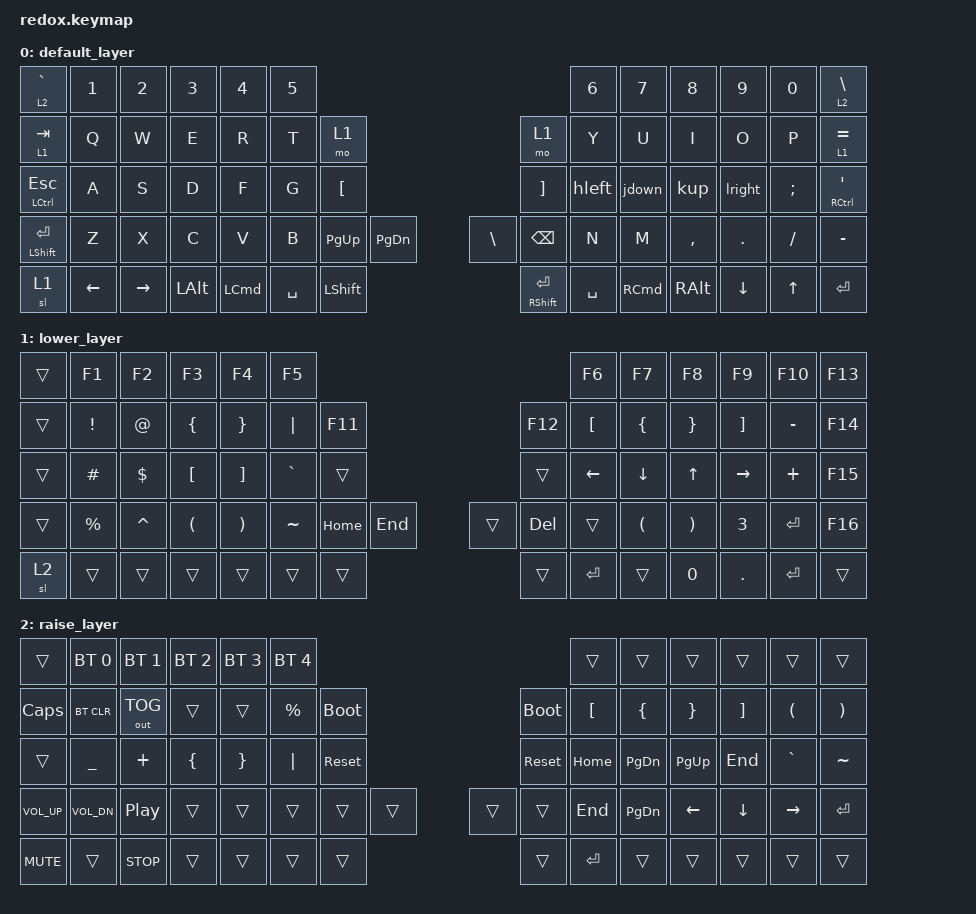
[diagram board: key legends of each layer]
/*
 * Copyright (c) 2021 The ZMK Contributors
 *
 * SPDX-License-Identifier: MIT
 */

#include <behaviors.dtsi>
#include <dt-bindings/zmk/keys.h>
#include <dt-bindings/zmk/bt.h>
#include <dt-bindings/zmk/ext_power.h>
#include <dt-bindings/zmk/outputs.h>

/ {

    behaviors {
        hleft: h_left {
            compatible = "zmk,behavior-mod-morph";
            #binding-cells = <0>;
            bindings = <&kp H>, <&kp LEFT>;
            mods = <(MOD_RCTL|MOD_LCTL)>;
        };
        jdown: j_down {
            compatible = "zmk,behavior-mod-morph";
            #binding-cells = <0>;
            bindings = <&kp J>, <&kp DOWN>;
            mods = <(MOD_RCTL|MOD_LCTL)>;
        };
        kup: k_up {
            compatible = "zmk,behavior-mod-morph";
            #binding-cells = <0>;
            bindings = <&kp K>, <&kp UP>;
            mods = <(MOD_RCTL|MOD_LCTL)>;
        };
        lright: l_right {
            compatible = "zmk,behavior-mod-morph";
            #binding-cells = <0>;
            bindings = <&kp L>, <&kp RIGHT>;
            mods = <(MOD_RCTL|MOD_LCTL)>;
        };
    };

    keymap {
        compatible =  "zmk,keymap" ;

        default_layer {
// --------------------------------------------------------------------------------------------------------------------------------
// | ESC   |  1  |  2  |   3   |  4  |  5  |                   ---                |  6    |  7    |  8    |  9   | 0  |    BSPC   |
// | TAB   |  Q  |  W  |   E   |  R  |  T  |   (   |           ---        |  )    |  Y    |  U    |  I    |  O   | P  |     -     |
// | CTRL  |  A  |  S  |   D   |  F  |  G  |   [   |           ---        |  ]    |  H    |  J    |  K    |  L   | ;  |     '     |
// | SHIFT |  Z  |  X  |   C   |  V  |  B  | PG_UP | PG_DOWN | --- | HOME | END   |  N    |  M    |  ,    |  .   | /  | SHFT(RET) |
// | CRTL  | ALT | GUI | LOWER |    GUI    | LOWER | SPACE   | --- | DEL  | SPACE |     RAISE     | LEFT  | DOWN | UP |   RIGHT   |
            bindings = <
   &lt 2 GRAVE   &kp N1   &kp N2    &kp N3   &kp N4    &kp N5                                                                     &kp N6    &kp N7   &kp N8    &kp N9   &kp N0     &lt 2 BSLH
   &lt 1 TAB     &kp Q    &kp W     &kp E    &kp R     &kp T     &mo 1                                           &mo 1            &kp Y     &kp U    &kp I     &kp O    &kp P      &lt 1 EQUAL
   &mt LCTRL ESC &kp A    &kp S     &kp D    &kp F     &kp G     &kp LBKT                                        &kp RBKT         &hleft    &jdown   &kup      &lright  &kp SEMI   &mt RCTL SINGLE_QUOTE
   &mt LSHFT RET &kp Z    &kp X     &kp C    &kp V     &kp B     &kp PG_UP &kp PG_DN            &kp BSLH         &kp BSPC         &kp N     &kp M    &kp COMMA &kp DOT  &kp FSLH   &kp MINUS
   &sl 1         &kp LEFT &kp RIGHT &kp LALT    &kp LCMD         &kp SPACE &kp LSHIFT           &mt RSHIFT RET   &kp SPACE           &kp RCMD        &kp RALT  &kp DOWN &kp UP     &kp RET
            >;

        };

        lower_layer {
// --------------------------------------------------------------------------------------------------------------------------
// | ESC   |  1  |  2  |   3   |   4   |  5  |                   ---              |  6  |  7  |   8  |  9   |  0  |  DEL  |
// | ESC   |  1  |  2  |   3   |   4   |  5  |   (   |           ---        |  )  |  6  |  7  |   8  |  9   |  0  |  DEL  |
// | CTRL  |  -  |  =  |   [   |   ]   |  \  |   [   |           ---        |  ]  |  *  |  4  |   5  |  6   |  +  |   -   |
// | SHIFT | ESC | GUI | COPY  | PASTE |     | PG_UP | PG_DOWN | --- | HOME | END |  \  |  1  |   2  |  3   | RET |  RET  |
// | CRTL  | ALT | GUI | LOWER |     GUI     | LOWER | SPACE   | --- | DEL  |  0  |    RAISE  | LEFT | DOWN | UP  | RIGHT |
            bindings = <
   &trans  &kp F1      &kp F2      &kp F3            &kp F4             &kp F5                                                   &kp F6        &kp F7            &kp F8             &kp F9    &kp F10      &kp F13
   &trans  &kp EXCL    &kp AT      &kp LEFT_BRACE    &kp RIGHT_BRACE    &kp PIPE    &kp F11                          &kp F12     &kp LBKT      &kp LEFT_BRACE    &kp RIGHT_BRACE    &kp RBKT  &kp MINUS    &kp F14
   &trans  &kp HASH    &kp DOLLAR  &kp LBKT          &kp RBKT           &kp GRAVE   &trans                           &trans      &kp LEFT      &kp DOWN          &kp UP             &kp RIGHT &kp PLUS     &kp F15
   &trans  &kp PRCNT   &kp CARET   &kp LPAR          &kp RPAR           &kp TILDE   &kp HOME &kp END          &trans &kp DELETE  &trans        &kp LPAR          &kp RPAR           &kp N3    &kp RET      &kp F16
   &sl 2   &trans      &trans      &trans                    &trans                 &trans   &trans           &trans &kp RET         &trans                      &kp N0             &kp DOT   &kp RET      &trans
            >;
        };

        raise_layer {
// ----------------------------------------------------------------------------------------------------------------------------
// | ESC   |  1  |  2  |   3   |  4  |  5  |                   ---                |  6   |  7   |  8   |  9   |  0    |  DEL  |
// | ESC   |  !  |  @  |   #   |  $  |  %  |   (   |           ---        |  )    |  ^   |  &   |  *   |  (   |  )    |  DEL  |
// | CTRL  |  _  |  +  |   {   |  }  | "|" |   [   |           ---        |  ]    | HOME | PGUP | PRSC | UP   |  `    |   ~   |
// | SHIFT | ESC | GUI |   (   |  )  |     | PG_UP | PG_DOWN | --- | HOME | END   | END  | PGDN | LEFT | DOWN | RIGHT |  RET  |
// | CRTL  | ALT | GUI | LOWER |    GUI    | LOWER | SPACE   | --- | DEL  | SPACE |    RAISE    | LEFT | DOWN | UP    | RIGHT |
            bindings = <
   &trans        &bt BT_SEL 0    &bt BT_SEL 1     &bt BT_SEL 2  &bt BT_SEL 3   &bt BT_SEL 4                                             &trans    &trans         &trans           &trans   &trans    &trans
   &kp CAPS      &bt BT_CLR      &out OUT_TOG     &trans        &trans         &kp PRCNT     &bootloader                    &bootloader &kp LBKT  &kp LEFT_BRACE &kp RIGHT_BRACE  &kp RBKT &kp LPAR  &kp RPAR  
   &trans        &kp UNDER       &kp PLUS         &kp LBRC      &kp RBRC       &kp PIPE      &sys_reset                     &sys_reset  &kp HOME  &kp PG_DN      &kp PG_UP        &kp END  &kp GRAVE &kp TILDE
   &kp C_VOL_UP  &kp C_VOL_DN    &kp C_PLAY_PAUSE &trans        &trans         &trans        &trans       &trans     &trans &trans      &kp END   &kp PG_DN      &kp LEFT         &kp DOWN &kp RIGHT &kp RET
   &kp C_MUTE    &trans          &kp C_STOP       &trans             &trans                  &trans       &trans     &trans &kp RET          &trans              &trans           &trans   &trans    &trans
            >;
        };
    };
};
